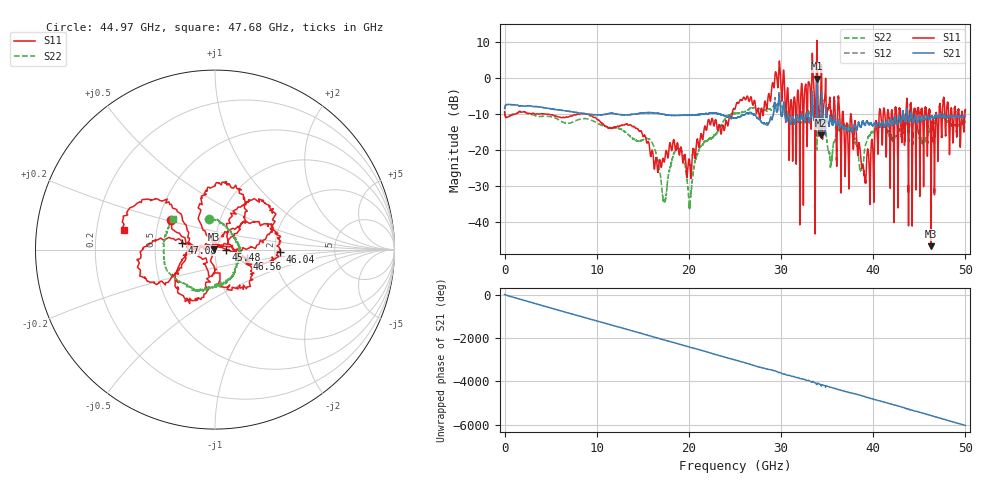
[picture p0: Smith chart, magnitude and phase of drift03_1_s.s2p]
!Created with skrf (http://scikit-rf.org).
# Hz S RI R 50.0
!freq ReS11 ImS11 ReS21 ImS21 ReS12 ImS12 ReS22 ImS22
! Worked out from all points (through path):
!   10001 points, 300 kHz to 50 GHz, reference 50 ohm
!   highest |S21| = -0.13 dB at 33.9 GHz (marker M1); lowest = -15.9 dB at 34.32 GHz (marker M2)
!   group delay of S21, straight-line fit = 335 ps
!   lowest |S11| = -46.9 dB at 46.29 GHz (marker M3), VSWR 1.01, Z = 49.6 + j0.224 ohm
!   |S11| at or under -10 dB: 4.468 GHz to 7.947 GHz (3.479 GHz wide, 56.1 % of centre); 8.997 GHz to 24.7 GHz (15.7 GHz wide, 93.2 % of centre); 37.58 GHz to 40.65 GHz (3.063 GHz wide, 7.83 % of centre) (the widest 3 of 67)
!   |S22| runs from -36.4 to -6.0 dB; largest |S21 - S12| = 0.11
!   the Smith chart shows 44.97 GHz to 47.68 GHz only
!   S11 on the Smith chart (normalised r, x): 44.97 GHz: 0.58, +0.21; 45.48 GHz: 1.13, +0.00; 46.04 GHz: 2.14, -0.06; 46.56 GHz: 1.42, -0.14; 47.08 GHz: 0.68, +0.06; 47.68 GHz: 0.32, +0.10
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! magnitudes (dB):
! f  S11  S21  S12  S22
! 300 kHz  -9.3  -8.4  -8.4  -9.4
! 8.335 GHz  -9.9  -9.8  -9.8  -11.4
! 16.67 GHz  -25.7  -9.8  -9.8  -23.7
! 17.35 GHz  -23.1  -10.1  -10.1  -34.1
! 19.03 GHz  -20.6  -10.4  -10.4  -19.8
! 20.1 GHz  -24.0  -10.3  -10.3  -35.3
! 25 GHz  -8.6  -11.1  -11.1  -9.8
! 33.34 GHz  -0.2  -8.2  -8.2  -9.6
! 33.9 GHz  10.5  -0.1  -0.5  -18.8
! 34.32 GHz  -2.8  -15.9  -15.3  -11.5
! 35.33 GHz  -7.2  -10.6  -10.0  -23.9
! 37.01 GHz  -19.5  -13.8  -13.9  -14.1
! 39 GHz  -26.6  -12.7  -12.8  -21.7
! 41.67 GHz  -10.0  -13.5  -13.4  -14.8
! 44.97 GHz  -10.6  -11.1  -11.2  -15.3
! 45.48 GHz  -24.0  -10.6  -10.5  -17.6
! 46.04 GHz  -8.8  -11.3  -11.1  -14.8
! 46.29 GHz  -46.9  -10.8  -10.7  -14.4
! 46.56 GHz  -14.7  -11.1  -11.1  -12.7
! 47.08 GHz  -14.4  -10.6  -10.7  -10.7
! 47.68 GHz  -5.7  -10.2  -10.2  -10.8
! 50 GHz  -8.7  -10.5  -10.6  -12.2
